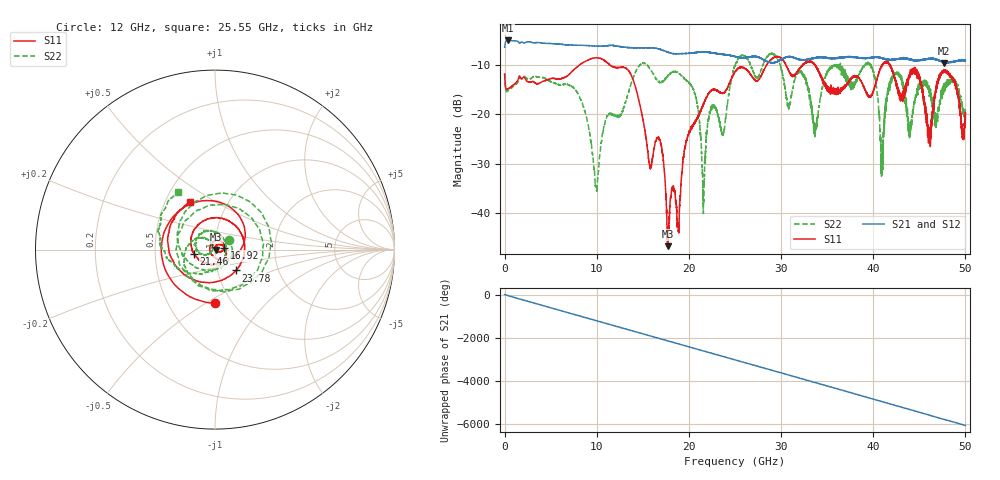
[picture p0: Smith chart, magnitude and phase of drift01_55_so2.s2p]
!Created with skrf (http://scikit-rf.org).
# Hz S RI R 50.0
!freq ReS11 ImS11 ReS21 ImS21 ReS12 ImS12 ReS22 ImS22
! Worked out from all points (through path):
!   10001 points, 300 kHz to 50 GHz, reference 50 ohm
!   highest |S21| = -5.05 dB at 325.3 MHz (marker M1); lowest = -9.6 dB at 47.67 GHz (marker M2)
!   group delay of S21, straight-line fit = 336 ps
!   lowest |S11| = -46.7 dB at 17.68 GHz (marker M3), VSWR 1.01, Z = 50.5 - j0.0961 ohm
!   |S11| at or under -10 dB: start of sweep to 8.151 GHz; 11.43 GHz to 28.42 GHz (16.99 GHz wide, 85.3 % of centre); 41.8 GHz to end of sweep (the widest 3 of 9)
!   |S22| runs from -40.1 to -7.7 dB; largest |S21 - S12| = 0.013
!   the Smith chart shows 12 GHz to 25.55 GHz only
!   S11 on the Smith chart (normalised r, x): 12 GHz: 0.84, -0.55; 16.92 GHz: 1.11, +0.02; 21.46 GHz: 0.79, -0.04; 23.78 GHz: 1.23, -0.29; 25.55 GHz: 0.67, +0.39
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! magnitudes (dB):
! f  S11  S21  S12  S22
! 300 kHz  -11.8  -6.4  -6.5  -11.7
! 325.3 MHz  -15.0  -5.1  -5.1  -15.4
! 8.335 GHz  -9.8  -6.0  -6.0  -17.4
! 9.945 GHz  -8.6  -6.2  -6.2  -34.7
! 12 GHz  -10.5  -6.1  -6.1  -20.4
! 16.67 GHz  -24.7  -6.7  -6.7  -13.4
! 16.92 GHz  -25.8  -6.9  -6.9  -13.4
! 17.68 GHz  -46.7  -7.4  -7.4  -12.4
! 20.5 GHz  -22.0  -7.5  -7.5  -14.9
! 21.46 GHz  -18.5  -7.4  -7.4  -31.5
! 22.47 GHz  -15.1  -7.5  -7.6  -19.1
! 23.78 GHz  -15.7  -7.9  -7.9  -23.5
! 25 GHz  -11.4  -8.3  -8.3  -10.2
! 25.55 GHz  -10.5  -8.5  -8.5  -8.4
! 33.34 GHz  -9.4  -8.7  -8.7  -19.3
! 39.49 GHz  -16.3  -8.6  -8.6  -9.8
! 40.95 GHz  -10.2  -8.6  -8.6  -30.2
! 41.67 GHz  -9.7  -8.8  -8.9  -14.7
! 44.75 GHz  -11.5  -9.1  -9.1  -15.5
! 46.09 GHz  -25.1  -8.8  -8.8  -15.0
! 47.67 GHz  -11.1  -9.6  -9.6  -15.0
! 50 GHz  -21.2  -9.1  -9.1  -20.3
